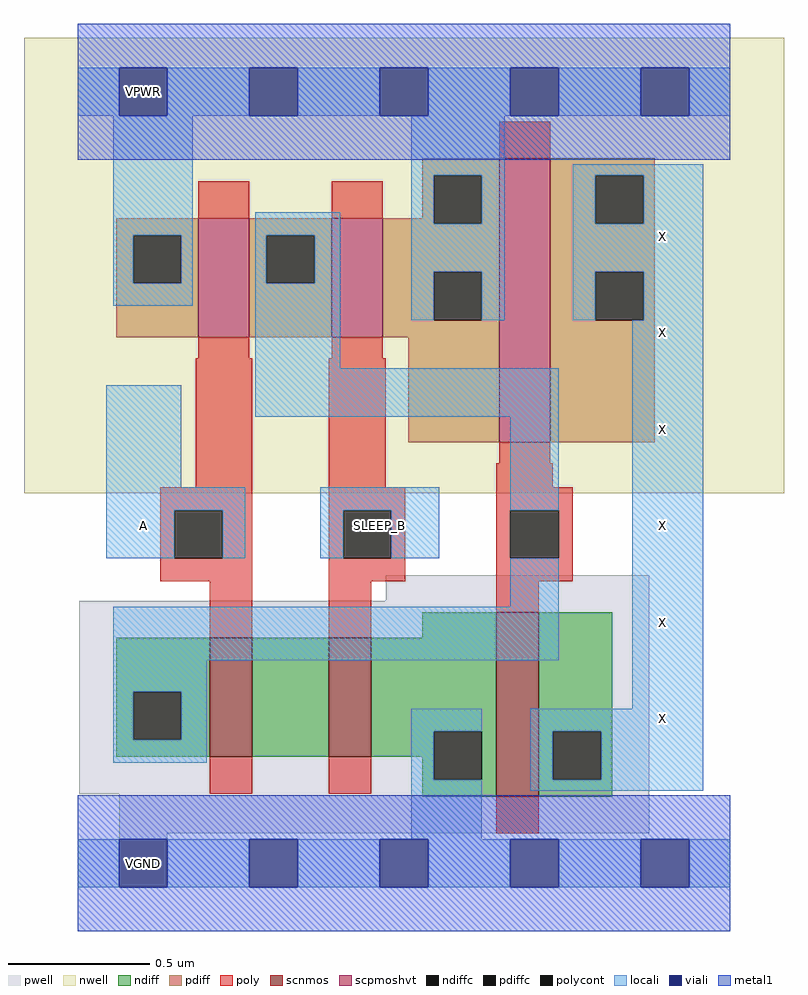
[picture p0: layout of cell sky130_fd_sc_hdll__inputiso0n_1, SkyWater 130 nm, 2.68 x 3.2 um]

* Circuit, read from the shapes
.subckt sky130_fd_sc_hdll__inputiso0n_1 A SLEEP_B VGND VNB VPB VPWR X
XM1 n1 A n2 VNB sky130_fd_pr__nfet_01v8 w=0.42 l=0.15
XM2 VGND SLEEP_B n1 VNB sky130_fd_pr__nfet_01v8 w=0.42 l=0.15
XM3 X n2 VGND VNB sky130_fd_pr__nfet_01v8 w=0.65 l=0.15
XM4 n2 A VPWR VPB sky130_fd_pr__pfet_01v8_hvt w=0.42 l=0.18
XM5 VPWR SLEEP_B n2 VPB sky130_fd_pr__pfet_01v8_hvt w=0.42 l=0.18
XM6 X n2 VPWR VPB sky130_fd_pr__pfet_01v8_hvt w=1 l=0.18
.ends

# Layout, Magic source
magic
tech sky130A
magscale 1 2
<< nwell >>
rect -38 261 498 582
<< pwell >>
rect 217 185 403 203
rect 1 49 403 185
rect 29 21 403 49
rect 29 -17 63 21
<< scnmos >>
rect 93 75 123 159
rect 177 75 207 159
rect 295 47 325 177
<< scpmoshvt >>
rect 85 371 121 455
rect 179 371 215 455
rect 297 297 333 497
<< ndiff >>
rect 243 159 295 177
rect 27 121 93 159
rect 27 87 39 121
rect 73 87 93 121
rect 27 75 93 87
rect 123 75 177 159
rect 207 93 295 159
rect 207 75 251 93
rect 243 59 251 75
rect 285 59 295 93
rect 243 47 295 59
rect 325 93 377 177
rect 325 59 335 93
rect 369 59 377 93
rect 325 47 377 59
<< pdiff >>
rect 243 485 297 497
rect 243 455 251 485
rect 27 443 85 455
rect 27 409 39 443
rect 73 409 85 443
rect 27 371 85 409
rect 121 443 179 455
rect 121 409 133 443
rect 167 409 179 443
rect 121 371 179 409
rect 215 451 251 455
rect 285 451 297 485
rect 215 417 297 451
rect 215 383 251 417
rect 285 383 297 417
rect 215 371 297 383
rect 233 297 297 371
rect 333 485 407 497
rect 333 451 365 485
rect 399 451 407 485
rect 333 417 407 451
rect 333 383 365 417
rect 399 383 407 417
rect 333 297 407 383
<< ndiffc >>
rect 39 87 73 121
rect 251 59 285 93
rect 335 59 369 93
<< pdiffc >>
rect 39 409 73 443
rect 133 409 167 443
rect 251 451 285 485
rect 251 383 285 417
rect 365 451 399 485
rect 365 383 399 417
<< poly >>
rect 297 497 333 523
rect 85 455 121 481
rect 179 455 215 481
rect 85 356 121 371
rect 179 356 215 371
rect 83 265 123 356
rect 58 249 123 265
rect 58 215 68 249
rect 102 215 123 249
rect 58 199 123 215
rect 93 159 123 199
rect 177 265 217 356
rect 297 282 333 297
rect 295 265 335 282
rect 177 249 231 265
rect 177 215 187 249
rect 221 215 231 249
rect 177 199 231 215
rect 295 249 349 265
rect 295 215 305 249
rect 339 215 349 249
rect 295 199 349 215
rect 177 159 207 199
rect 295 177 325 199
rect 93 49 123 75
rect 177 49 207 75
rect 295 21 325 47
<< polycont >>
rect 68 215 102 249
rect 187 215 221 249
rect 305 215 339 249
<< locali >>
rect 0 527 29 561
rect 63 527 121 561
rect 155 527 213 561
rect 247 527 305 561
rect 339 527 397 561
rect 431 527 460 561
rect 25 443 81 527
rect 235 485 301 527
rect 25 409 39 443
rect 73 409 81 443
rect 25 393 81 409
rect 125 443 185 459
rect 125 409 133 443
rect 167 409 185 443
rect 125 349 185 409
rect 235 451 251 485
rect 285 451 301 485
rect 235 417 301 451
rect 235 383 251 417
rect 285 383 301 417
rect 349 485 441 493
rect 349 451 365 485
rect 399 451 441 485
rect 349 417 441 451
rect 349 383 365 417
rect 399 383 441 417
rect 20 265 73 337
rect 125 315 339 349
rect 20 249 118 265
rect 20 215 68 249
rect 102 215 118 249
rect 171 249 255 265
rect 171 215 187 249
rect 221 215 255 249
rect 305 249 339 315
rect 305 181 339 215
rect 25 143 339 181
rect 25 121 91 143
rect 25 87 39 121
rect 73 87 91 121
rect 391 109 441 383
rect 25 71 91 87
rect 235 93 285 109
rect 235 59 251 93
rect 235 17 285 59
rect 319 93 441 109
rect 319 59 335 93
rect 369 59 441 93
rect 319 51 441 59
rect 0 -17 29 17
rect 63 -17 121 17
rect 155 -17 213 17
rect 247 -17 305 17
rect 339 -17 397 17
rect 431 -17 460 17
<< viali >>
rect 29 527 63 561
rect 121 527 155 561
rect 213 527 247 561
rect 305 527 339 561
rect 397 527 431 561
rect 29 -17 63 17
rect 121 -17 155 17
rect 213 -17 247 17
rect 305 -17 339 17
rect 397 -17 431 17
<< metal1 >>
rect 0 561 460 592
rect 0 527 29 561
rect 63 527 121 561
rect 155 527 213 561
rect 247 527 305 561
rect 339 527 397 561
rect 431 527 460 561
rect 0 496 460 527
rect 0 17 460 48
rect 0 -17 29 17
rect 63 -17 121 17
rect 155 -17 213 17
rect 247 -17 305 17
rect 339 -17 397 17
rect 431 -17 460 17
rect 0 -48 460 -17
<< labels >>
flabel metal1 s 29 527 63 561 0 FreeSans 200 0 0 0 VPWR
port 6 nsew power bidirectional
flabel metal1 s 29 -17 63 17 0 FreeSans 200 0 0 0 VGND
port 3 nsew ground bidirectional
flabel locali s 395 153 429 187 0 FreeSans 250 0 0 0 X
port 7 nsew signal output
flabel locali s 395 85 429 119 0 FreeSans 250 0 0 0 X
port 7 nsew signal output
flabel locali s 395 221 429 255 0 FreeSans 250 0 0 0 X
port 7 nsew signal output
flabel locali s 395 289 429 323 0 FreeSans 250 0 0 0 X
port 7 nsew signal output
flabel locali s 395 357 429 391 0 FreeSans 250 0 0 0 X
port 7 nsew signal output
flabel locali s 395 425 429 459 0 FreeSans 250 0 0 0 X
port 7 nsew signal output
flabel locali s 191 221 235 255 0 FreeSans 200 0 0 0 SLEEP_B
port 2 nsew signal input
flabel locali s 29 221 63 255 0 FreeSans 200 0 0 0 A
port 1 nsew signal input
flabel nwell s 29 527 63 561 0 FreeSans 200 0 0 0 VPB
port 5 nsew power bidirectional
flabel pwell s 29 -17 63 17 0 FreeSans 200 0 0 0 VNB
port 4 nsew ground bidirectional
rlabel comment s 0 0 0 0 4 sky130_fd_sc_hdll__lpflow_inputiso0n_1
<< properties >>
string LEFsite unithd
string LEFclass CORE
string FIXED_BBOX 0 0 460 544
string GDS_FILE $PDKPATH/libs.ref/sky130_fd_sc_hdll/gds/sky130_fd_sc_hdll.gds
string LEFsymmetry X Y R90
string GDS_END 963204
string GDS_START 958354
string LEFproperties maskLayoutSubType "abstract" prCellType "standard" originalViewName "layout"
<< end >>
